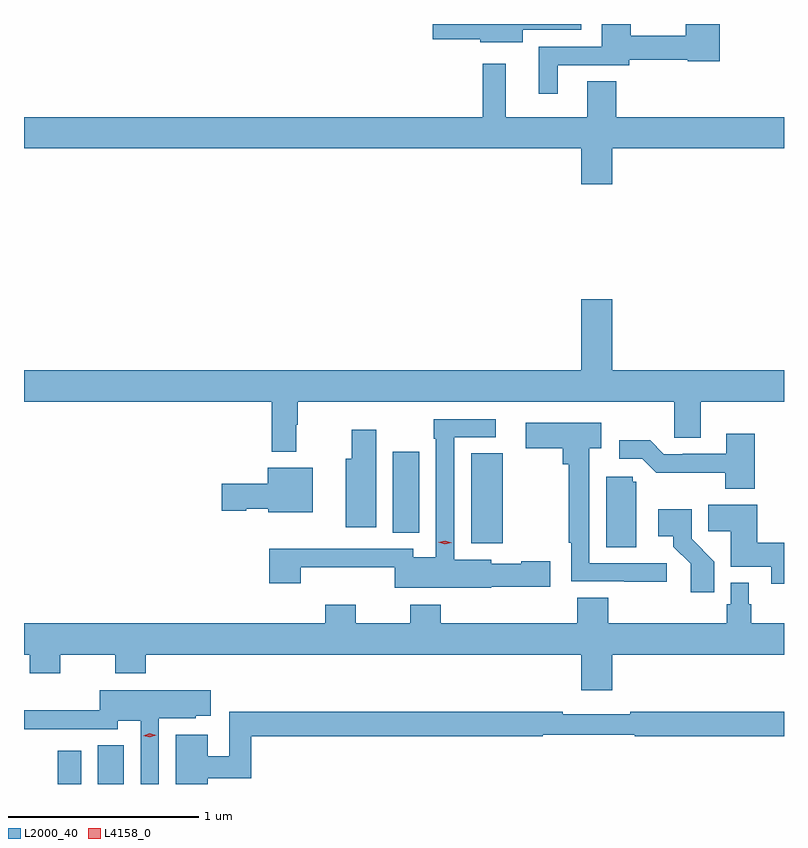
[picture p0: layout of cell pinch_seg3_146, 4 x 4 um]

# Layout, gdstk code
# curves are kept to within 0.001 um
import gdstk
lib = gdstk.Library(unit=1e-6, precision=1e-09)
def R(c, l, rs):  # rectangles x0, y0, x1, y1
    for r in rs: c.add(gdstk.rectangle(r[:2], r[2:], *l))
def P(c, l, *ps):  # polygons
    for p in ps: c.add(gdstk.Polygon(p, *l))
L2000_40 = (2000, 40)
L4158_0 = (4158, 0)

pinch_seg3_146 = lib.new_cell('pinch_seg3_146')
R(pinch_seg3_146, L2000_40, [(1097.318,722.879,1097.44,723.055), (1097.528,722.879,1097.665,723.083), (1099.493,724.145,1099.66,724.619), (1099.082,724.201,1099.219,724.627)])
P(pinch_seg3_146, L2000_40, [(1099.948,726.663),(1100.326,726.663),(1100.326,726.69),(1100.634,726.69),(1100.634,726.682),(1100.801,726.682),(1100.801,726.879),(1100.623,726.879),(1100.623,726.818),(1100.334,726.818),(1100.334,726.879),(1100.18,726.879),(1100.18,726.759),(1099.85,726.759),(1099.85,726.513),(1099.948,726.513)],
  [(1099.765,726.849),(1100.074,726.849),(1100.074,726.879),(1099.29,726.879),(1099.29,726.799),(1099.542,726.799),(1099.542,726.782),(1099.765,726.782)],
  [(1100.236,726.224),(1101.14,726.224),(1101.14,726.388),(1100.258,726.388),(1100.258,726.578),(1100.105,726.578),(1100.105,726.388),(1099.675,726.388),(1099.675,726.67),(1099.554,726.67),(1099.554,726.388),(1097.14,726.388),(1097.14,726.224),(1100.072,726.224),(1100.072,726.036),(1100.236,726.036)],
  [(1098.574,724.769),(1098.581,724.769),(1098.581,724.892),(1100.562,724.892),(1100.562,724.702),(1100.701,724.702),(1100.701,724.892),(1101.14,724.892),(1101.14,725.056),(1100.236,725.056),(1100.236,725.431),(1100.072,725.431),(1100.072,725.056),(1097.14,725.056),(1097.14,724.892),(1098.445,724.892),(1098.445,724.629),(1098.574,724.629)],
  [(1099.599,723.917),(1099.909,723.917),(1099.909,724.052),(1099.756,724.052),(1099.756,724.039),(1099.599,724.039),(1099.599,724.06),(1099.404,724.06),(1099.404,724.704),(1099.624,724.704),(1099.624,724.8),(1099.296,724.8),(1099.296,724.697),(1099.308,724.697),(1099.308,724.072),(1099.188,724.072),(1099.188,724.116),(1098.679,724.116),(1098.679,724.118),(1098.431,724.118),(1098.431,723.936),(1098.596,723.936),(1098.596,724.019),(1099.092,724.019),(1099.092,723.911),(1099.599,723.911)],
  [(1100.524,724.041),(1100.115,724.041),(1100.115,724.646),(1100.179,724.646),(1100.179,724.78),(1099.782,724.78),(1099.782,724.646),(1099.975,724.646),(1099.975,724.562),(1100.007,724.562),(1100.007,724.148),(1100.019,724.148),(1100.019,723.945),(1100.299,723.945),(1100.299,723.943),(1100.524,723.943)],
  [(1098.994,724.744),(1098.865,724.744),(1098.865,724.591),(1098.833,724.591),(1098.833,724.23),(1098.994,724.23)],
  [(1100.985,724.723),(1100.837,724.723),(1100.837,724.617),(1100.608,724.617),(1100.608,724.614),(1100.508,724.614),(1100.435,724.687),(1100.274,724.687),(1100.274,724.59),(1100.394,724.59),(1100.467,724.517),(1100.83,724.518),(1100.83,724.433),(1100.985,724.433)],
  [(1098.661,724.543),(1098.422,724.543),(1098.422,724.458),(1098.18,724.458),(1098.18,724.316),(1098.309,724.316),(1098.309,724.328),(1098.426,724.328),(1098.426,724.31),(1098.661,724.31)],
  [(1100.362,724.47),(1100.343,724.47),(1100.343,724.497),(1100.204,724.497),(1100.204,724.126),(1100.362,724.126)],
  [(1101.14,724.148),(1100.998,724.148),(1100.998,724.348),(1100.74,724.348),(1100.74,724.21),(1100.861,724.21),(1100.861,724.022),(1101.074,724.022),(1101.074,723.932),(1101.14,723.932)],
  [(1100.774,724.05),(1100.655,724.169),(1100.655,724.324),(1100.478,724.324),(1100.478,724.184),(1100.558,724.184),(1100.558,724.129),(1100.649,724.039),(1100.649,723.888),(1100.774,723.888)],
  [(1100.236,723.56),(1101.14,723.56),(1101.14,723.724),(1100.968,723.724),(1100.968,723.825),(1100.955,723.825),(1100.955,723.937),(1100.859,723.937),(1100.859,723.825),(1100.839,723.825),(1100.839,723.724),(1100.216,723.724),(1100.216,723.86),(1100.051,723.86),(1100.051,723.724),(1099.334,723.724),(1099.334,723.823),(1099.174,723.823),(1099.174,723.724),(1098.885,723.724),(1098.885,723.823),(1098.725,723.823),(1098.725,723.724),(1097.14,723.724),(1097.14,723.56),(1097.171,723.56),(1097.171,723.461),(1097.331,723.461),(1097.331,723.56),(1097.62,723.56),(1097.62,723.461),(1097.78,723.461),(1097.78,723.56),(1100.072,723.56),(1100.072,723.372),(1100.236,723.372)],
  [(1097.85,723.224),(1098.045,723.224),(1098.045,723.239),(1098.124,723.239),(1098.124,723.373),(1097.538,723.373),(1097.538,723.266),(1097.14,723.266),(1097.14,723.168),(1097.634,723.168),(1097.634,723.212),(1097.754,723.212),(1097.754,722.879),(1097.85,722.879)],
  [(1098.106,722.908),(1098.335,722.908),(1098.335,723.13),(1099.87,723.13),(1099.87,723.138),(1100.355,723.138),(1100.355,723.13),(1101.14,723.13),(1101.14,723.259),(1100.332,723.259),(1100.332,723.246),(1099.976,723.246),(1099.976,723.259),(1098.219,723.259),(1098.219,723.026),(1098.106,723.026),(1098.106,723.139),(1097.939,723.139),(1097.939,722.879),(1098.106,722.879)])
P(pinch_seg3_146, L4158_0, [(1097.802,723.125),(1097.767,723.133),(1097.767,723.134),(1097.767,723.134),(1097.802,723.145),(1097.836,723.136),(1097.837,723.136),(1097.836,723.136)],
  [(1099.355,724.14),(1099.321,724.151),(1099.321,724.152),(1099.321,724.152),(1099.356,724.16),(1099.39,724.149),(1099.39,724.149),(1099.39,724.149)])

lib.write_gds('pinch_seg3_146.gds')
